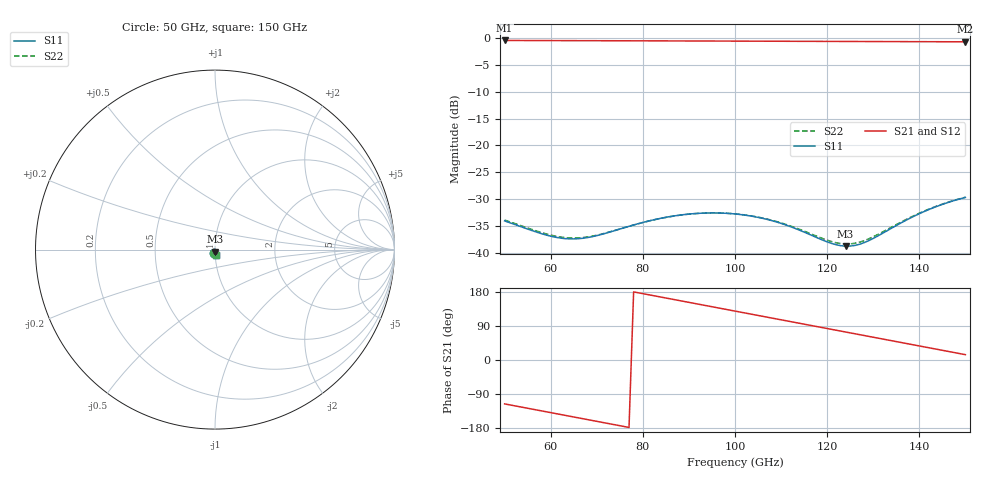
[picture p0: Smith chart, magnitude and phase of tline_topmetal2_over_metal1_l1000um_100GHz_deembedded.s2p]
! Created with skrf 2.2.0 (http://scikit-rf.org).
# GHz S DB R 50.0
! Port[1] = P1
! Port[2] = P2
!freq dBS11 angS11 dBS21 angS21 dBS12 angS12 dBS22 angS22
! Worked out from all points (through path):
!   101 points, 50 GHz to 150 GHz, reference 50 ohm
!   highest |S21| = -0.42 dB at 50 GHz (marker M1); lowest = -0.7 dB at 150 GHz (marker M2)
!   group delay of S21, straight-line fit = 6.39 ps
!   lowest |S11| = -38.8 dB at 124 GHz (marker M3), VSWR 1.02, Z = 49.8 - j1.13 ohm
!   |S11| at or under -10 dB: start of sweep to end of sweep
!   |S22| runs from -38.4 to -29.7 dB; largest |S21 - S12| = 1.1e-14
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50  -34.09 -109.7  -0.42 -115.9  -0.42 -115.9  -33.93 -109.8
55  -35.61 -111.1  -0.43 -127.4  -0.43 -127.4  -35.41 -111.5
60  -36.94 -106.8  -0.44 -138.9  -0.44 -138.9  -36.73 -107.6
64  -37.44 -99.7  -0.45 -148.1  -0.45 -148.1  -37.27 -100.9
67  -37.32 -93.9  -0.46 -155.0  -0.46 -155.0  -37.20 -95.3
72  -36.38 -87.2  -0.47 -166.5  -0.47 -166.5  -36.33 -88.5
76  -35.35 -85.5  -0.48 -175.7  -0.48 -175.7  -35.35 -86.6
80  -34.38 -86.7  -0.49 175.1  -0.49 175.1  -34.39 -87.5
84  -33.58 -89.8  -0.50 165.9  -0.50 165.9  -33.60 -90.4
88  -33.01 -94.2  -0.51 156.7  -0.51 156.7  -33.03 -94.6
92  -32.68 -99.4  -0.52 147.5  -0.52 147.5  -32.69 -99.5
100  -32.79 -110.1  -0.54 129.1  -0.54 129.1  -32.77 -109.9
105  -33.43 -116.0  -0.56 117.6  -0.56 117.6  -33.38 -115.6
109  -34.29 -119.4  -0.57 108.4  -0.57 108.4  -34.20 -118.7
113  -35.47 -120.6  -0.58 99.2  -0.58 99.2  -35.33 -119.7
117  -36.92 -117.8  -0.59 90.0  -0.59 90.0  -36.69 -116.8
121  -38.30 -108.7  -0.60 80.8  -0.60 80.8  -37.95 -108.2
124  -38.80 -97.6  -0.61 73.9  -0.61 73.9  -38.40 -97.7
128  -38.15 -81.6  -0.62 64.7  -0.62 64.7  -37.79 -82.8
134  -35.44 -68.4  -0.63 50.9  -0.63 50.9  -35.24 -70.2
142  -31.99 -69.0  -0.65 32.5  -0.65 32.5  -31.92 -70.4
150  -29.71 -78.2  -0.67 14.1  -0.67 14.1  -29.68 -79.2
